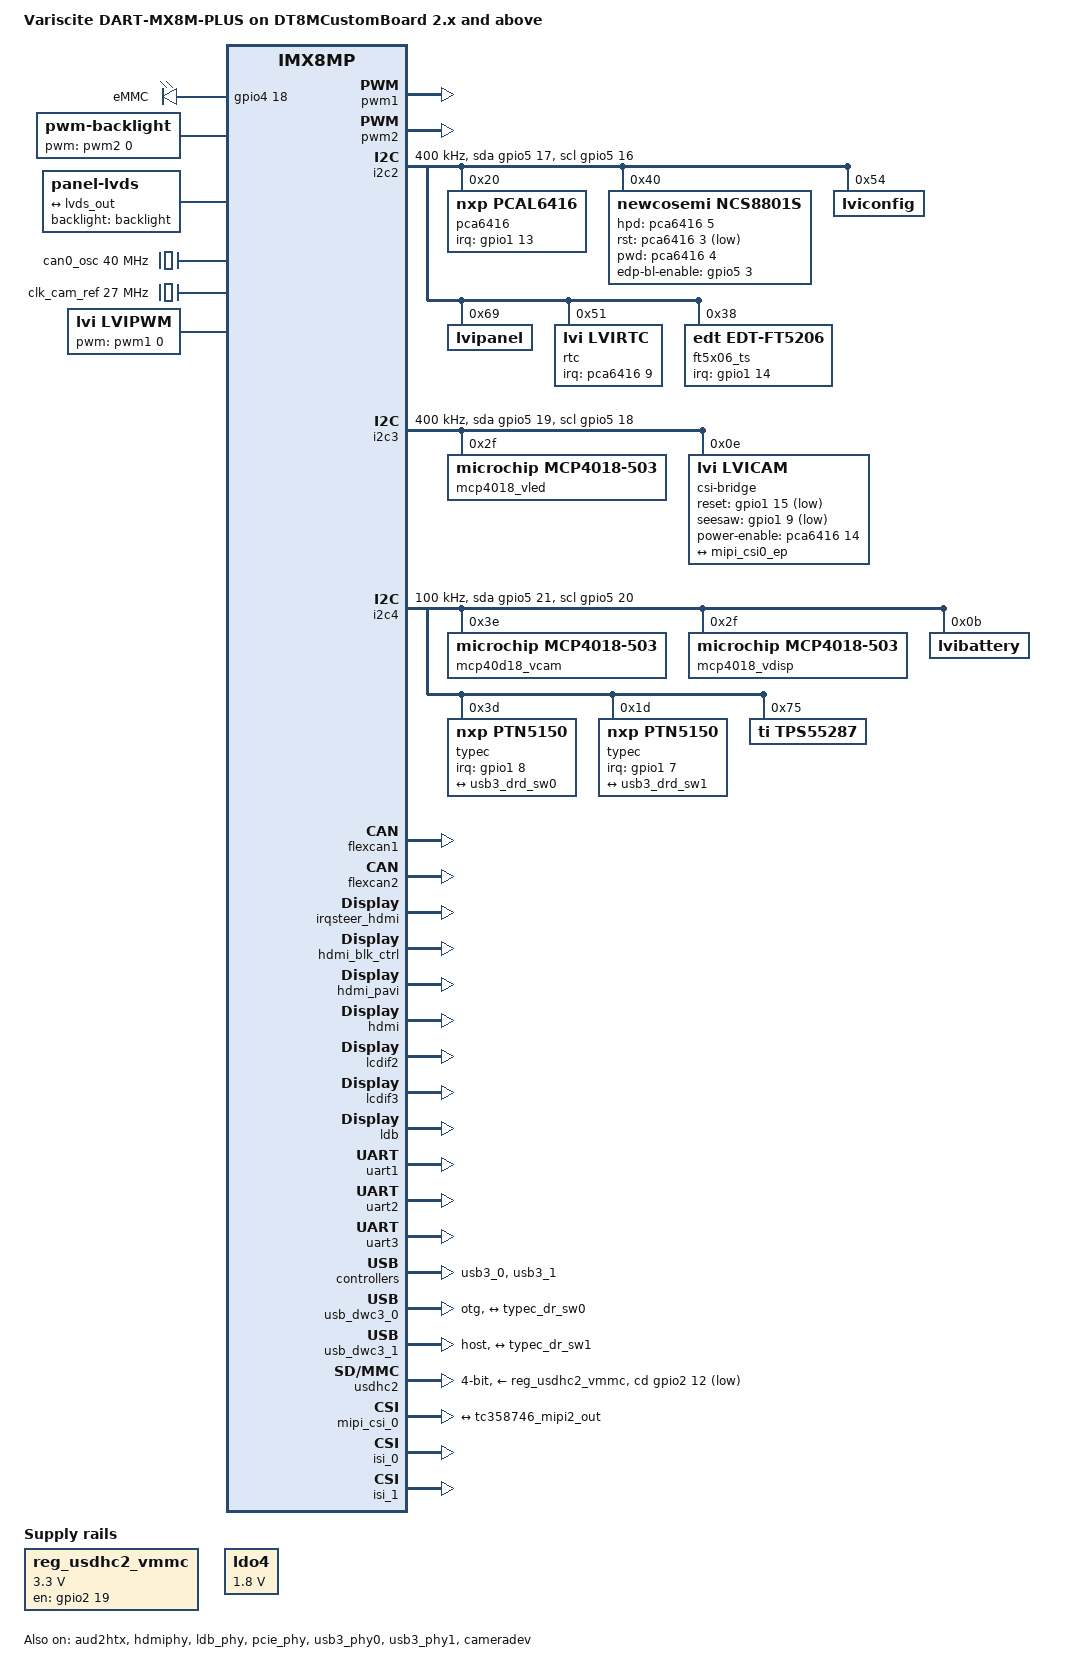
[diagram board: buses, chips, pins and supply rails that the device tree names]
// SPDX-License-Identifier: (GPL-2.0+ OR MIT)
/*
 * Copyright 2019 NXP
 * Copyright 2020-2021 Variscite Ltd.
 */

#include "imx8mp-var-dart.dtsi"

/{
	model = "Variscite DART-MX8M-PLUS on DT8MCustomBoard 2.x and above";

	chosen {
		stdout-path = &uart1;
		bootargs-append = "console=ttymxc0,115200 earlycon=ec_imx6q,0x30860000,115200 androidboot.console=ttymxc0 androidboot.primary_display=imx-drm";
	};

	gpio-leds {
		compatible = "gpio-leds";
		pinctrl-names = "default";
		pinctrl-0 = <&pinctrl_gpio_leds>;
		status = "okay";

		emmc {
			label = "eMMC";
			gpios = <&gpio4 18 GPIO_ACTIVE_HIGH>;
			linux,default-trigger = "mmc2";
		};
	};

	// gpio-lvi {
	// 	compatible = "lviseesaw";
	// 	pinctrl-names = "default";
	// 	pinctrl-0 = <&pinctrl_seesaw>;
	// 	gpio-controller;
	// 	#gpio-cells = <2>;
	// 	status = "okay";

	// 	lviseesaw {
	// 		input;
	// 		gpios = <&gpio3 16 GPIO_ACTIVE_LOW>;
	// 		interrupt-parent = <&gpio3>;
	// 		interrupts = <16 IRQ_TYPE_EDGE_FALLING>;
	// 	};
	// };

	reg_usdhc2_vmmc: regulator-usdhc2-vmmc {
		compatible = "regulator-fixed";
		regulator-name = "VSD_3V3";
		regulator-min-microvolt = <3300000>;
		regulator-max-microvolt = <3300000>;
		gpio = <&gpio2 19 (GPIO_ACTIVE_HIGH | GPIO_PULL_UP)>;
		enable-active-high;
		startup-delay-us = <100>;
		off-on-delay-us = <12000>;
	};

	backlight: backlight {
		compatible = "pwm-backlight";
		pwms = <&pwm2 0 1000000>;
		status = "okay";

		brightness-levels = < 0  1  2  3  4  5  6  7  8  9
				     10 11 12 13 14 15 16 17 18 19
				     20 21 22 23 24 25 26 27 28 29
				     30 31 32 33 34 35 36 37 38 39
				     40 41 42 43 44 45 46 47 48 49
				     50 51 52 53 54 55 56 57 58 59
				     60 61 62 63 64 65 66 67 68 69
				     70 71 72 73 74 75 76 77 78 79
				     80 81 82 83 84 85 86 87 88 89
				     90 91 92 93 94 95 96 97 98 99
				    100>;
		default-brightness-level = <80>;
	};

	panel: edp-panel {
		status = "okay";
		compatible = "panel-lvds";
		data-mapping = "vesa-24";
		width-mm = <383>;
		height-mm = <215>;
		backlight = <&backlight>;


		/* Documentation / devicetree / bindings / video / display-timing.txt */
		panel-timing {
			clock-frequency = <138500000>;  
            hactive = <1920>;
            vactive = <1080>;
            hback-porch = <148>;
            hfront-porch = <88>;
            vback-porch = <36>;
            vfront-porch = <4>;
            hsync-len = <44>;
            vsync-len = <5>;
            hsync-active = <1>;
            vsync-active = <0>;
            de-active = <1>;
			// interlaced = <1>;
		};

		port {
			panel_in: endpoint {
				remote-endpoint = <&lvds_out>;
			};
		};
	};

	can0_osc: can0_osc {
		compatible = "fixed-clock";
		#clock-cells = <0>;
		clock-frequency = <40000000>;
	};

	sound_hdmi: sound_hdmi {
		compatible = "fsl,imx-audio-hdmi";
		model = "audio-hdmi";
		audio-cpu = <&aud2htx>;
		hdmi-out;
		constraint-rate = <44100>,
				<88200>,
				<176400>,
				<32000>,
				<48000>,
				<96000>,
				<192000>;
		status = "okay";
	};

	/* fixed 25MHz oscillator, fpga clock towards tc358746 */
	clk_cam_ref: oscillator {
		#clock-cells = <0>;
		compatible = "fixed-clock";
		clock-frequency = <27000000>;
	};

	lvipwm: lvipwm {
		status = "okay";
		compatible = "lvi,lvipwm";
		pwms = <&pwm1 0 255 0>; // PWM controller, channel, period, polarity
	};
};

&aud2htx {
	status = "okay";
};

&pwm1 {
	pinctrl-names = "default";
	pinctrl-0 = <&pinctrl_pwm1>;
	status = "okay";
};

&pwm2 {
	pinctrl-names = "default";
	pinctrl-0 = <&pinctrl_pwm2>;
	status = "okay";
};

&i2c2 {
	clock-frequency = <400000>;
	pinctrl-names = "default", "gpio";
	pinctrl-0 = <&pinctrl_i2c2>;
	pinctrl-1 = <&pinctrl_i2c2_gpio>;
	scl-gpios = <&gpio5 16 GPIO_ACTIVE_HIGH>;
	sda-gpios = <&gpio5 17 GPIO_ACTIVE_HIGH>;
	status = "okay";

	pca6416: gpio@20 {
		compatible = "nxp,pcal6416";
		reg = <0x20>;
		gpio-controller;
		#gpio-cells = <2>;
		pinctrl-names = "default";
		pinctrl-0 = <&pinctrl_pca6416>;
		interrupt-parent = <&gpio1>;
		interrupts = <13 IRQ_TYPE_EDGE_FALLING>;
	};

	ncs8801s@40 {
		status = "okay";
		compatible = "newcosemi,ncs8801s";
		#address-cells = <1>;
		#size-cells = <0>;

		reg = <0x40>, <0x70>, <0x75>;
		screen-w = <1920>;
		screen-h = <1080>;
		hpd-gpios = <&pca6416 5 GPIO_ACTIVE_HIGH>;
		rst-gpios = <&pca6416 3 GPIO_ACTIVE_LOW>;
		pwd-gpios = <&pca6416 4 GPIO_ACTIVE_HIGH>;
		edp-bl-enable-gpios = <&gpio5 3 GPIO_ACTIVE_HIGH>;

		// bl-pwm = <&pwm2 0 1000000>;
        brightness-levels = <0 25 50 75 100>;

        default-brightness-level = <100>;

	};  

	lviconfig@54 {
        reg = <0x54>;    // EEPROM I2C address

        #address-cells = <1>;
        #size-cells = <0>;
        compatible = "lviconfig";
		// size = <32768> //size of EEPROM
    };

	lvipanel@69 {
		reg = <0x69>;

		#address-cells = <1>;
		#size-cells = <0>;
		compatible = "lvipanel";
    };

	/* DS1337 RTC module */
	rtc@51 {
		// compatible = "dallas,ds1307";
		// compatible = "nxp,pcf85063";
		compatible = "lvi,lvirtc";

		reg = <0x51>;
		pinctrl-names = "default";
		// pinctrl-0 = <&pinctrl_rtc>;
		interrupt-parent = <&pca6416>;
		interrupts = <9 IRQ_TYPE_EDGE_FALLING>;
		wakeup-source;
		status = "okay";
	};

	/* Capacitive touch controller */
	ft5x06_ts: ft5x06_ts@38 {
		compatible = "edt,edt-ft5206";
		reg = <0x38>;
		pinctrl-names = "default";
		pinctrl-0 = <&pinctrl_captouch>;
		// reset-gpios = <&pca6408_2 4 GPIO_ACTIVE_LOW>;
		interrupt-parent = <&gpio1>;
		interrupts = <14 IRQ_TYPE_EDGE_FALLING>;
		touchscreen-size-x = <1920>;
		touchscreen-size-y = <1080>;
		touchscreen-inverted-x;
		touchscreen-inverted-y;
		wakeup-source;
		status = "okay";
	};
};

//I2C communication with toshiba, lvi_panel, etc.
&i2c3 {
	clock-frequency = <400000>;
	pinctrl-names = "default", "gpio";
	pinctrl-0 = <&pinctrl_i2c3>;
	pinctrl-1 = <&pinctrl_i2c3_gpio>;
	scl-gpios = <&gpio5 18 GPIO_ACTIVE_HIGH>;
	sda-gpios = <&gpio5 19 GPIO_ACTIVE_HIGH>;
	status = "okay";

	mcp4018_vled: digipot@2f {
        compatible = "microchip,mcp4018-503";
        reg = <0x2f>;                /* I²C address */
        /* Optional: initial wiper value */
        microchip,initial-ohms = <2000>;
    };

	csi-bridge@e {
		reg = <0x0e>; // I2C Address?
		compatible = "lvi,lvicam"; // Used to find compatible driver
		pinctrl-names = "default"; // ? 

		#address-cells = <1>;
		#size-cells = <0>;
		//clocks = <&clk_cam_ref>; // Refernce clock, generated by fpga
		reset-gpios = <&gpio1 15 GPIO_ACTIVE_LOW>; //used to reset toshiba camera bridge
		seesaw-gpios = <&gpio1 9 GPIO_ACTIVE_LOW>; //used to set near/distance viewing
		power-enable-gpios = <&pca6416 14 GPIO_ACTIVE_HIGH>; //used to power camera

		ports {
 			#address-cells = <1>;
 			#size-cells = <0>;

			//  /* Input, int this case from camera */
			//  port@0 {
			// 	reg = <0>;
			// 	/* Can we skip this in first attempts?*/
			//  };

			 /* Output, in this case the IMX CSI port*/
			 port@0 {
				reg = <0>;
			
				tc358746_mipi2_out: endpoint {
				remote-endpoint = <&mipi_csi0_ep>;
				//data-lanes = <1 2 3 4>;

				//Two lanes for colorbar
				data-lanes = <1 2 3 4>;
				//clock-noncontinuous;
					clock-continuous;
				//link-frequencies = /bits/ 64 <216000000>;
				//link-frequencies = /bits/ 64 <297000000>;
				link-frequencies = /bits/ 64 <594000000>;
				};
			};
			
			// 	 			tc358743_out: endpoint {
			// 	remote-endpoint = <&mipi_csi2_in>;
			// 	data-lanes = <1 2 3 4>;
			// 	clock-lanes = <0>;
			// 	clock-noncontinuous;
			// 	link-frequencies = /bits/ 64 <297000000>;
			// };
		};
	};
};

/* i2c4 (sw) = i2c4 (hw)*/
&i2c4 {
	clock-frequency = <100000>;
	pinctrl-names = "default", "gpio";
	pinctrl-0 = <&pinctrl_i2c4>;
	pinctrl-1 = <&pinctrl_i2c4_gpio>;
	scl-gpios = <&gpio5 20 GPIO_ACTIVE_HIGH>;
	sda-gpios = <&gpio5 21 GPIO_ACTIVE_HIGH>;
	status = "okay";

	mcp40d18_vcam: digipot@3e {
        compatible = "microchip,mcp4018-503";  /* MCP40D18 is register-compatible */
        reg = <0x3e>;
        microchip,initial-ohms = <6000>; //6kohm
    };

	mcp4018_vdisp: digipot@2f {
        compatible = "microchip,mcp4018-503";
        reg = <0x2f>;                /* I²C address */
        /* Optional: initial wiper value */
        microchip,initial-ohms = <10000>; //10kohm
    };

	lvibattery@b {
		reg = <0x0b>;    // EEPROM I2C address

        #address-cells = <1>;
        #size-cells = <0>;
        compatible = "lvibattery";
	};

	typec@3d {
		compatible = "nxp,ptn5150";
		pinctrl-names = "default";
		pinctrl-0 = <&pinctrl_extcon0>;
		reg = <0x3d>;
		
		interrupt-parent = <&gpio1>;
		interrupts = <8 IRQ_TYPE_LEVEL_LOW>;
		irq-is-id-quirk;
		status ="okay";

		port {
			typec_dr_sw0: endpoint {
				remote-endpoint = <&usb3_drd_sw0>;
			};
		};
	};

	typec@1d {
		compatible = "nxp,ptn5150";
		pinctrl-names = "default";
		pinctrl-0 = <&pinctrl_extcon1>;
		reg = <0x1d>;
		
		interrupt-parent = <&gpio1>;
		interrupts = <7 IRQ_TYPE_LEVEL_HIGH>;
		irq-is-id-quirk;
		status ="okay";

		port {
			typec_dr_sw1: endpoint {
				remote-endpoint = <&usb3_drd_sw1>;
			};
		};
	};

	tps55287: tps55287@75 {
		compatible = "ti,tps55287";
		reg = <0x75>;                 /* or 0x74 per MODE pin (datasheet Table 6-2) */
		status = "okay";

		/* Use internal feedback path; program VOUT via I2C */
		ti,internal-feedback;         /* default true if omitted */
		ti,intfb-ratio = <3>;         /* 0:0.2256, 1:0.1128, 2:0.0752, 3:0.0564 (=> 10 mV steps) */
		ti,vout-microvolt = <13000000>;/* 9.0 V */

		/* Output current limit using sense resistor on ISP/ISN */
		ti,ilim-milliamp = <2500>;    /* 2.5 A */
		ti,rsense-micro-ohms = <20000>; /* 20 mΩ (example) */

		/* Behavior tweaks */
		ti,force-pwm;                 /* FPWM at light load */
		ti,hiccup-enable;             /* short-circuit hiccup protection */
		ti,dischg-on-shutdown;        /* discharge when OE=0/shutdown */
		// ti,force-dischg;           /* use sparingly (<10ms) if toggled by software */
		ti,double-fsw-in-buckboost;   /* optional: double fSW in buck-boost */

		/* Slew rate and OCP delay */
		ti,slew-rate-mv-per-us = <5>; /* 5 mV/us */
		ti,ocp-delay-ms = <6>;        /* ~6 ms */

		/* Cable droop compensation */
		ti,cdc-external;           /* use external resistor on CDC pin */
		ti,cdc-rise-100mv-steps = <3>;/* 0..7 -> 0..0.7V @ 50mV sense; 3=>0.3V */
	};
};

&flexcan1 {
	pinctrl-names = "default";
	pinctrl-0 = <&pinctrl_flexcan1>;
	status = "okay";
};

&flexcan2 {
	pinctrl-names = "default";
	pinctrl-0 = <&pinctrl_flexcan2>;
	status = "okay";
};

&irqsteer_hdmi {
	status = "okay";
};

&hdmi_blk_ctrl {
	status = "okay";
};

&hdmi_pavi {
	status = "okay";
};

&hdmi {
	status = "okay";
};

&hdmiphy {
	status = "okay";
};

/* MIPI-DSI */
&lcdif1 {
	status = "disabled";
};

/* LVDS */
&lcdif2 {
	status = "okay";
};

/* HDMI */
&lcdif3 {
	status = "okay";
	thres-low  = <1 2>;             /* (FIFO * 1 / 2) */
	thres-high = <3 4>;             /* (FIFO * 3 / 4) */
};

&ldb {
    status = "okay";
    fsl,dual-channel;

    lvds-channel@0 {

        fsl,data-mapping = "spwg";
        fsl,data-width = <24>;
        status = "okay";

        port@1 {
            reg = <1>;

            lvds_out: endpoint {
                remote-endpoint = <&panel_in>;  /* Correctly matches panel endpoint */
            };
        };
    };
};

&ldb_phy {
	status = "okay";
};

&mipi_dsi {
	status = "disabled";
};


&pcie_ep {
	ext_osc = <1>;
	clocks = <&clk IMX8MP_CLK_HSIO_ROOT>,
		 <&clk IMX8MP_CLK_PCIE_AUX>,
		 <&clk IMX8MP_CLK_HSIO_AXI>,
		 <&clk IMX8MP_CLK_PCIE_ROOT>;
	clock-names = "pcie", "pcie_aux", "pcie_phy", "pcie_bus";
	assigned-clocks = <&clk IMX8MP_CLK_HSIO_AXI>,
			  <&clk IMX8MP_CLK_PCIE_AUX>;
	assigned-clock-rates = <500000000>, <10000000>;
	assigned-clock-parents = <&clk IMX8MP_SYS_PLL2_500M>,
				 <&clk IMX8MP_SYS_PLL2_50M>;
	status = "disabled";
};

&pcie_phy {
	ext_osc = <1>;
	status = "okay";
};

/* Console */
&uart1 {
	pinctrl-names = "default";
	pinctrl-0 = <&pinctrl_uart1>;
	/delete-property/ dmas;
	/delete-property/ dma-names;
	status = "okay";
};

/* Header */
&uart2 {
	pinctrl-names = "default";
	pinctrl-0 = <&pinctrl_uart2>;
	status = "okay";
};

/* Header */
&uart3 {
	pinctrl-names = "default";
	pinctrl-0 = <&pinctrl_uart3>;
	status = "okay";
};

//USB 1
&usb3_phy0 {
	fsl,phy-tx-vref-tune = <0xe>;
	fsl,phy-tx-preemp-amp-tune = <3>;
	fsl,phy-tx-vboost-level = <5>;
	fsl,phy-comp-dis-tune = <7>;
	fsl,pcs-tx-deemph-3p5db = <0x21>;
	fsl,phy-pcs-tx-swing-full = <0x7f>;
	status = "okay";
};

&usb3_0 {
	status = "okay";
};

&usb_dwc3_0 {
	dr_mode = "otg";
	pinctrl-names = "default";
	pinctrl-0 = <&pinctrl_usb1_otg>;
	hnp-disable;
	srp-disable;
	adp-disable;
	usb-role-switch;
	role-switch-default-mode = "none";
	snps,dis-u1-entry-quirk;
	snps,dis-u2-entry-quirk;
	status = "okay";

	port {
		usb3_drd_sw0: endpoint {
			remote-endpoint = <&typec_dr_sw0>;
		};
	};
};

//USB2
&usb3_phy1 {
	fsl,phy-tx-vref-tune = <0xe>;
	fsl,phy-tx-preemp-amp-tune = <3>;
	fsl,phy-tx-vboost-level = <5>;
	fsl,phy-comp-dis-tune = <7>;
	fsl,pcs-tx-deemph-3p5db = <0x21>;
	fsl,phy-pcs-tx-swing-full = <0x7f>;
	status = "okay";
};

&usb3_1 {
	status = "okay";
};

&usb_dwc3_1 {
	dr_mode = "host";
	pinctrl-names = "default";
	pinctrl-0 = <&pinctrl_usb2_otg>;
	hnp-disable;
	srp-disable;
	adp-disable;
	usb-role-switch;
	role-switch-default-mode = "none";
	snps,dis-u1-entry-quirk;
	snps,dis-u2-entry-quirk;
	status = "okay";

	port {
		usb3_drd_sw1: endpoint {
			remote-endpoint = <&typec_dr_sw1>;
		};
	};
};


/* LVI USB setup
	USB0 (hw=usb1)--> USB2.0 port
	USB1 (hw=usb2)--> USB3.0 port
						--> USB3.0 type C port 1 (logic addr=0x3D)
						--> USB3.0 type C port 2 (logic addr=0x1D)
						
*/

&usdhc2 {
	pinctrl-names = "default", "state_100mhz", "state_200mhz";
	pinctrl-0 = <&pinctrl_usdhc2>, <&pinctrl_usdhc2_gpio>;
	pinctrl-1 = <&pinctrl_usdhc2_100mhz>, <&pinctrl_usdhc2_gpio>;
	pinctrl-2 = <&pinctrl_usdhc2_200mhz>, <&pinctrl_usdhc2_gpio>;
	cd-gpios = <&gpio2 12 GPIO_ACTIVE_LOW>;
	vmmc-supply = <&reg_usdhc2_vmmc>;
	bus-width = <4>;
	status = "okay";
};

&mipi_csi_0 {
	#address-cells = <1>;
	#size-cells = <0>;
	status = "okay";

	port@0 {
		reg = <0>;
		mipi_csi0_ep: endpoint {
			remote-endpoint = <&tc358746_mipi2_out>;
			data-lanes = <4>; //Is this right?
			//For lanes for colorbar
			//data-lanes = <4>; //Is this right?
			csis-hs-settle = <13>;
			csis-clk-settle = <0>;
			csis-wclk;
		};
	};
};


&cameradev {
	status = "okay";
};

&isi_0 {
	status = "okay";

	cap_device {
		status = "okay";
	};

	m2m_device {
		status = "okay";
	};
};

&isi_1 {
	status = "okay";

	cap_device {
		status = "okay";
	};
};


&ldo4 {
	regulator-min-microvolt = <1800000>;
	regulator-max-microvolt = <1800000>;
};

&iomuxc {
	pinctrl-names = "default";
	pinctrl-0 = <&pinctrl_hog>;

	pinctrl_hog: hoggrp {
		fsl,pins = <
			MX8MP_IOMUXC_HDMI_DDC_SCL__HDMIMIX_HDMI_SCL			0x400001c2
			MX8MP_IOMUXC_HDMI_DDC_SDA__HDMIMIX_HDMI_SDA			0x400001c2
			MX8MP_IOMUXC_HDMI_HPD__HDMIMIX_HDMI_HPD				0x40000010
			MX8MP_IOMUXC_HDMI_CEC__HDMIMIX_HDMI_CEC				0x40000010
		>;
	};

	pinctrl_pwm1: pwm1grp {
		fsl,pins = <
			MX8MP_IOMUXC_GPIO1_IO01__PWM1_OUT				0x116
		>;
	};

	/* NOTES FOR IOMUX */
	/*i.MX 8M Plus Applications Processor Reference Manual, Rev. 1, 06/2021 - p.1646-1647
	8.2.4.168 SW_PAD_CTL_PAD_GPIO1_IO15 SW PAD Control Register (IOMUXC_SW_PAD_CTL_PAD_GPIO1_IO15)
	The above register sets different parameters for the pinctrl group.
	In this case, we can set it to the same values as pwm1grp, namely 0x116.

	Also see https://www.variscite.com/blog/i-mx-device-tree-pinmux-settings/ for similar usecase.

	Here you can find all definitions for IOMUX:
	arch/arm64/boot/dts/freescale/imx8mp-pinfunc.h
	
	*/
	pinctrl_pwm2: pwm2grp {
		fsl,pins = <
			MX8MP_IOMUXC_SPDIF_RX__PWM2_OUT  				0x116
		>;
	};

	pinctrl_fec: fecgrp {
		fsl,pins = <
			MX8MP_IOMUXC_SAI1_RXD4__ENET1_RGMII_RD0				0x90
			MX8MP_IOMUXC_SAI1_RXD5__ENET1_RGMII_RD1				0x90
			MX8MP_IOMUXC_SAI1_RXD6__ENET1_RGMII_RD2				0x90
			MX8MP_IOMUXC_SAI1_RXD7__ENET1_RGMII_RD3				0x90
			MX8MP_IOMUXC_SAI1_TXC__ENET1_RGMII_RXC				0x90
			MX8MP_IOMUXC_SAI1_TXFS__ENET1_RGMII_RX_CTL			0x90
			MX8MP_IOMUXC_SAI1_TXD0__ENET1_RGMII_TD0				0x00
			MX8MP_IOMUXC_SAI1_TXD1__ENET1_RGMII_TD1				0x00
			MX8MP_IOMUXC_SAI1_TXD2__ENET1_RGMII_TD2				0x00
			MX8MP_IOMUXC_SAI1_TXD3__ENET1_RGMII_TD3				0x00
			MX8MP_IOMUXC_SAI1_TXD4__ENET1_RGMII_TX_CTL			0x00
			MX8MP_IOMUXC_SAI1_TXD5__ENET1_RGMII_TXC				0x00
		>;
	};

	pinctrl_flexspi0: flexspi0grp {
		fsl,pins = <
			MX8MP_IOMUXC_NAND_ALE__FLEXSPI_A_SCLK				0x1c2
			MX8MP_IOMUXC_NAND_CE0_B__FLEXSPI_A_SS0_B			0x82
			MX8MP_IOMUXC_NAND_DATA00__FLEXSPI_A_DATA00			0x82
			MX8MP_IOMUXC_NAND_DATA01__FLEXSPI_A_DATA01			0x82
			MX8MP_IOMUXC_NAND_DATA02__FLEXSPI_A_DATA02			0x82
			MX8MP_IOMUXC_NAND_DATA03__FLEXSPI_A_DATA03			0x82
		>;
	};

	pinctrl_i2c2: i2c2grp {
		fsl,pins = <
			MX8MP_IOMUXC_I2C2_SCL__I2C2_SCL					0x400001c2
			MX8MP_IOMUXC_I2C2_SDA__I2C2_SDA					0x400001c2
		>;
	};

	pinctrl_i2c3: i2c3grp {
		fsl,pins = <
			MX8MP_IOMUXC_I2C3_SCL__I2C3_SCL					0x400001c2
			MX8MP_IOMUXC_I2C3_SDA__I2C3_SDA					0x400001c2
		>;
	};

	pinctrl_i2c4: i2c4grp {
		fsl,pins = <
			MX8MP_IOMUXC_I2C4_SCL__I2C4_SCL					0x400001c2
			MX8MP_IOMUXC_I2C4_SDA__I2C4_SDA					0x400001c2
		>;
	};

	pinctrl_i2c2_gpio: i2c2gpiogrp {
		fsl,pins = <
			MX8MP_IOMUXC_I2C2_SCL__GPIO5_IO16				0x1c2
			MX8MP_IOMUXC_I2C2_SDA__GPIO5_IO17				0x1c2
		>;
	};

	pinctrl_i2c3_gpio: i2c3gpiogrp {
		fsl,pins = <
			MX8MP_IOMUXC_I2C3_SCL__GPIO5_IO18				0x1c2
			MX8MP_IOMUXC_I2C3_SDA__GPIO5_IO19				0x1c2
		>;
	};

	pinctrl_i2c4_gpio: i2c4gpiogrp {
		fsl,pins = <
			MX8MP_IOMUXC_I2C4_SCL__GPIO5_IO20				0x1c2
			MX8MP_IOMUXC_I2C4_SDA__GPIO5_IO21				0x1c2
		>;
	};

	pinctrl_uart1: uart1grp {
		fsl,pins = <
			MX8MP_IOMUXC_UART1_RXD__UART1_DCE_RX				0x40
			MX8MP_IOMUXC_UART1_TXD__UART1_DCE_TX				0x40
		>;
	};

	pinctrl_uart2: uart2grp {
		fsl,pins = <
			MX8MP_IOMUXC_UART2_RXD__UART2_DCE_RX				0x40
			MX8MP_IOMUXC_UART2_TXD__UART2_DCE_TX				0x40
		>;
	};

	pinctrl_uart3: uart3grp {
		fsl,pins = <
			MX8MP_IOMUXC_UART3_RXD__UART3_DCE_RX				0x40
			MX8MP_IOMUXC_UART3_TXD__UART3_DCE_TX				0x40
		>;
	};

	pinctrl_uart4: uart4grp {
		fsl,pins = <
			MX8MP_IOMUXC_ECSPI2_SCLK__UART4_DCE_RX				0x140
			MX8MP_IOMUXC_ECSPI2_MOSI__UART4_DCE_TX				0x140
			MX8MP_IOMUXC_ECSPI2_MISO__UART4_DCE_CTS				0x140
			MX8MP_IOMUXC_ECSPI2_SS0__UART4_DCE_RTS				0x140
		>;
	};

	pinctrl_usdhc2_gpio: usdhc2grp-gpio {
		fsl,pins = <
			MX8MP_IOMUXC_SD2_CD_B__GPIO2_IO12 				0x1c4
			MX8MP_IOMUXC_SD2_RESET_B__GPIO2_IO19				0x40
		>;
	};

	pinctrl_usdhc2: usdhc2grp {
		fsl,pins = <
			MX8MP_IOMUXC_SD2_CLK__USDHC2_CLK				0x190
			MX8MP_IOMUXC_SD2_CMD__USDHC2_CMD				0x1d0
			MX8MP_IOMUXC_SD2_DATA0__USDHC2_DATA0				0x1d0
			MX8MP_IOMUXC_SD2_DATA1__USDHC2_DATA1				0x1d0
			MX8MP_IOMUXC_SD2_DATA2__USDHC2_DATA2				0x1d0
			MX8MP_IOMUXC_SD2_DATA3__USDHC2_DATA3				0x1d0
			MX8MP_IOMUXC_GPIO1_IO04__USDHC2_VSELECT				0xc0
		>;
	};

	pinctrl_usdhc2_100mhz: usdhc2grp-100mhz {
		fsl,pins = <
			MX8MP_IOMUXC_SD2_CLK__USDHC2_CLK				0x194
			MX8MP_IOMUXC_SD2_CMD__USDHC2_CMD				0x1d4
			MX8MP_IOMUXC_SD2_DATA0__USDHC2_DATA0				0x1d4
			MX8MP_IOMUXC_SD2_DATA1__USDHC2_DATA1				0x1d4
			MX8MP_IOMUXC_SD2_DATA2__USDHC2_DATA2				0x1d4
			MX8MP_IOMUXC_SD2_DATA3__USDHC2_DATA3				0x1d4
			MX8MP_IOMUXC_GPIO1_IO04__USDHC2_VSELECT 			0xc0
		>;
	};

	pinctrl_usdhc2_200mhz: usdhc2grp-200mhz {
		fsl,pins = <
			MX8MP_IOMUXC_SD2_CLK__USDHC2_CLK				0x196
			MX8MP_IOMUXC_SD2_CMD__USDHC2_CMD				0x1d6
			MX8MP_IOMUXC_SD2_DATA0__USDHC2_DATA0				0x1d6
			MX8MP_IOMUXC_SD2_DATA1__USDHC2_DATA1				0x1d6
			MX8MP_IOMUXC_SD2_DATA2__USDHC2_DATA2				0x1d6
			MX8MP_IOMUXC_SD2_DATA3__USDHC2_DATA3				0x1d6
			MX8MP_IOMUXC_GPIO1_IO04__USDHC2_VSELECT 			0xc0
		>;
	};

	pinctrl_ecspi1: ecspi1grp {
		fsl,pins = <
			MX8MP_IOMUXC_ECSPI1_SCLK__GPIO5_IO06				0x12
			MX8MP_IOMUXC_ECSPI1_MOSI__ECSPI1_MOSI				0x12
			MX8MP_IOMUXC_ECSPI1_MISO__ECSPI1_MISO				0x12
			MX8MP_IOMUXC_ECSPI1_SS0__GPIO5_IO09				0x12
			MX8MP_IOMUXC_GPIO1_IO12__GPIO1_IO12				0x12
			MX8MP_IOMUXC_SD1_RESET_B__GPIO2_IO10				0x12
		>;
	};

	pinctrl_captouch: captouchgrp {
		fsl,pins = <
			MX8MP_IOMUXC_GPIO1_IO14__GPIO1_IO14				0x16
		>;
	};


	pinctrl_extcon1: extcongrp1 {
		fsl,pins = <
			MX8MP_IOMUXC_GPIO1_IO07__GPIO1_IO07				0x10
		>;
	};

	pinctrl_extcon0: extcongrp0 {
		fsl,pins = <
			MX8MP_IOMUXC_GPIO1_IO08__GPIO1_IO08				0x10
		>;
	};

	pinctrl_flexcan1: flexcan1grp {
		fsl,pins = <
			MX8MP_IOMUXC_SAI2_RXC__CAN1_TX					0x154
			MX8MP_IOMUXC_SAI2_TXC__CAN1_RX					0x154
		>;
	};

	pinctrl_flexcan2: flexcan2grp {
		fsl,pins = <
			MX8MP_IOMUXC_SAI2_MCLK__CAN2_RX					0x154
			MX8MP_IOMUXC_SAI2_TXD0__CAN2_TX					0x154
		>;
	};

	pinctrl_can: cangrp {
		fsl,pins = <
			MX8MP_IOMUXC_GPIO1_IO06__GPIO1_IO06				0x1c6
			MX8MP_IOMUXC_SPDIF_RX__GPIO5_IO04				0x16
		>;
	};

	pinctrl_gpio_leds: ledgrp {
		fsl,pins = <
			MX8MP_IOMUXC_SAI1_TXD6__GPIO4_IO18				0xc6
		>;
	};

	pinctrl_pca6416: pca6416grp {
		fsl,pins = <
			MX8MP_IOMUXC_GPIO1_IO13__GPIO1_IO13				0x1c6
		>;
	};

	pinctrl_seesaw: seesawgrp {
		/* i.MX 8M Plus Applications Processor Reference Manual, Rev. 1, 06/2021 - p.1616-1617
		bit 8: Pull enable - Enable (1)
		bit 7: Input select - CMOS (0)
		bit 6: Pull-up/down - up (1)
		bit 5: Open-drain - Disable (0)
		bit 4: Slew-rate - Slow (0)
		bit 3: reserved (0)
		bit 2-1: Drive strength - DSE_X6 (11)
		bit 0: reserved (0)
		--> 101000110 = 0x146 */
		fsl,pins = <
			MX8MP_IOMUXC_NAND_READY_B__GPIO3_IO16 0x140
		>;
	};

	pinctrl_usb1_otg: usb2_otg_grp {
        fsl,pins = <
            MX8MP_IOMUXC_GPIO1_IO10__USB1_ID 0x1c6
        >;
    };
   
    pinctrl_usb2_otg: usb1_otg_grp {
        fsl,pins = <
            MX8MP_IOMUXC_GPIO1_IO11__USB2_ID 0x1c6
        >;
    };
};
